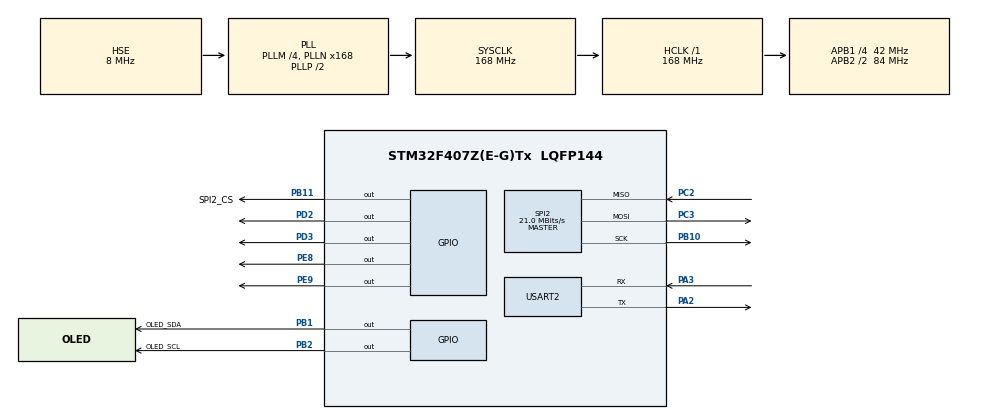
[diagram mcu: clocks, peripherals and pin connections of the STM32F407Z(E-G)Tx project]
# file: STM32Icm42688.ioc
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Mcu.Family=STM32F4
Mcu.Name=STM32F407Z(E-G)Tx
Mcu.Package=LQFP144
NVIC.PriorityGroup=NVIC_PRIORITYGROUP_4
NVIC.TIM3_IRQn=true\:0\:0\:false\:false\:true\:true\:true\:true
PA13.Mode=Serial_Wire
PA13.Signal=SYS_JTMS-SWDIO
PA14.Mode=Serial_Wire
PA14.Signal=SYS_JTCK-SWCLK
PA2.Mode=Asynchronous
PA2.Signal=USART2_TX
PA3.Mode=Asynchronous
PA3.Signal=USART2_RX
PB1.GPIO_Label=OLED_SDA
PB1.GPIO_ModeDefaultOutputPP=GPIO_MODE_OUTPUT_OD
PB1.GPIO_PuPd=GPIO_NOPULL
PB1.GPIO_Speed=GPIO_SPEED_FREQ_MEDIUM
PB1.Signal=GPIO_Output
PB10.Mode=Full_Duplex_Master
PB10.Signal=SPI2_SCK
PB11.GPIO_Label=SPI2_CS
PB11.GPIO_Speed=GPIO_SPEED_FREQ_VERY_HIGH
PB11.Signal=GPIO_Output
PB2.GPIO_Label=OLED_SCL
PB2.GPIO_ModeDefaultOutputPP=GPIO_MODE_OUTPUT_OD
PB2.GPIO_PuPd=GPIO_NOPULL
PB2.GPIO_Speed=GPIO_SPEED_FREQ_MEDIUM
PB2.Signal=GPIO_Output
PC2.Mode=Full_Duplex_Master
PC2.Signal=SPI2_MISO
PC3.Mode=Full_Duplex_Master
PC3.Signal=SPI2_MOSI
PD2.GPIO_ModeDefaultOutputPP=GPIO_MODE_OUTPUT_OD
PD2.GPIO_PuPd=GPIO_NOPULL
PD2.GPIO_Speed=GPIO_SPEED_FREQ_MEDIUM
PD2.Signal=GPIO_Output
PD3.GPIO_ModeDefaultOutputPP=GPIO_MODE_OUTPUT_OD
PD3.GPIO_PuPd=GPIO_NOPULL
PD3.GPIO_Speed=GPIO_SPEED_FREQ_MEDIUM
PD3.Signal=GPIO_Output
PE8.GPIO_ModeDefaultOutputPP=GPIO_MODE_OUTPUT_OD
PE8.GPIO_PuPd=GPIO_NOPULL
PE8.GPIO_Speed=GPIO_SPEED_FREQ_MEDIUM
PE8.Signal=GPIO_Output
PE9.GPIO_ModeDefaultOutputPP=GPIO_MODE_OUTPUT_OD
PE9.GPIO_PuPd=GPIO_NOPULL
PE9.GPIO_Speed=GPIO_SPEED_FREQ_MEDIUM
PE9.Signal=GPIO_Output
PH0-OSC_IN.Mode=HSE-External-Oscillator
PH0-OSC_IN.Signal=RCC_OSC_IN
PH1-OSC_OUT.Mode=HSE-External-Oscillator
PH1-OSC_OUT.Signal=RCC_OSC_OUT
ProjectManager.HeapSize=0xF00
ProjectManager.StackSize=0xF00
ProjectManager.TargetToolchain=MDK-ARM V5.32
RCC.48MHZClocksFreq_Value=84000000
RCC.AHBFreq_Value=168000000
RCC.APB1CLKDivider=RCC_HCLK_DIV4
RCC.APB1Freq_Value=42000000
RCC.APB1TimFreq_Value=84000000
RCC.APB2CLKDivider=RCC_HCLK_DIV2
RCC.APB2Freq_Value=84000000
RCC.APB2TimFreq_Value=168000000
RCC.CortexFreq_Value=168000000
RCC.HCLKFreq_Value=168000000
RCC.HSE_VALUE=8000000
RCC.HSI_VALUE=16000000
RCC.LSE_VALUE=32768
RCC.PLLM=4
RCC.PLLN=168
RCC.PLLSourceVirtual=RCC_PLLSOURCE_HSE
RCC.SYSCLKFreq_VALUE=168000000
RCC.SYSCLKSource=RCC_SYSCLKSOURCE_PLLCLK
RCC.VCOOutputFreq_Value=336000000
SPI2.CRCCalculation=SPI_CRCCALCULATION_DISABLE
SPI2.CalculateBaudRate=21.0 MBits/s
SPI2.Direction=SPI_DIRECTION_2LINES
SPI2.Mode=SPI_MODE_MASTER
SPI2.VirtualType=VM_MASTER
USART2.VirtualMode=VM_ASYNC
VP_TIM3_VS_ClockSourceINT.Mode=Internal
board=custom

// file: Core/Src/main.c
/* USER CODE BEGIN Header */
/**
  ******************************************************************************
  * @file           : main.c
  * @brief          : Main program body
  ******************************************************************************
  * @attention
  *
  * Copyright (c) 2024 STMicroelectronics.
  * All rights reserved.
  *
  * This software is licensed under terms that can be found in the LICENSE file
  * in the root directory of this software component.
  * If no LICENSE file comes with this software, it is provided AS-IS.
  *
  ******************************************************************************
  */
/* USER CODE END Header */
#include "main.h"
#include "spi.h"
#include "tim.h"
#include "usart.h"
#include "gpio.h"

/* USER CODE BEGIN Includes */
#include "icm42688.h"
#include <stdio.h>
#include "OLED.h"
#include "Delay.h"
#include "MahonyAHRS.h"
#include "interrupt.h"
/* USER CODE END Includes */

/* USER CODE BEGIN PTD */
char arr[20];
int16_t ax,ay,az,gx,gy,gz;
extern int Tis;
/* USER CODE END PTD */

void SystemClock_Config(void);

int main(void)
{

  /* MCU Configuration--------------------------------------------------------*/

  /* Reset of all peripherals, Initializes the Flash interface and the Systick. */
  HAL_Init();

  /* Configure the system clock */
  SystemClock_Config();

  /* Initialize all configured peripherals */
  MX_GPIO_Init();
  MX_SPI2_Init();
  MX_TIM3_Init();
  MX_USART2_UART_Init();
  /* USER CODE BEGIN 2 */

	delay_init();
	OLED_Init();
	Icm42688_Init();
	Mahony_Init(1000);//1000us的频率更新
	HAL_TIM_Base_Start_IT(&htim3);

  /* USER CODE END 2 */

  /* Infinite loop */
  while (1)
  {

    /* USER CODE BEGIN 3 */
	sprintf(arr,"roll:%3.2f",Roll);
	OLED_ShowString(1,1,arr);
	sprintf(arr,"Pitch:%3.2f",Pitch);
	OLED_ShowString(2,1,arr);
	sprintf(arr,"Yaw:%3.2f",Yaw);
	OLED_ShowString(3,1,arr);
	sprintf(arr,"Tis:%5d",Tis);
	OLED_ShowString(4,1,arr);

  }
  /* USER CODE END 3 */
}

void SystemClock_Config(void)
{
  RCC_OscInitTypeDef RCC_OscInitStruct = {0};
  RCC_ClkInitTypeDef RCC_ClkInitStruct = {0};

  /** Configure the main internal regulator output voltage
  */
  __HAL_RCC_PWR_CLK_ENABLE();
  __HAL_PWR_VOLTAGESCALING_CONFIG(PWR_REGULATOR_VOLTAGE_SCALE1);

  /** Initializes the RCC Oscillators according to the specified parameters
  * in the RCC_OscInitTypeDef structure.
  */
  RCC_OscInitStruct.OscillatorType = RCC_OSCILLATORTYPE_HSE;
  RCC_OscInitStruct.HSEState = RCC_HSE_ON;
  RCC_OscInitStruct.PLL.PLLState = RCC_PLL_ON;
  RCC_OscInitStruct.PLL.PLLSource = RCC_PLLSOURCE_HSE;
  RCC_OscInitStruct.PLL.PLLM = 4;
  RCC_OscInitStruct.PLL.PLLN = 168;
  RCC_OscInitStruct.PLL.PLLP = RCC_PLLP_DIV2;
  RCC_OscInitStruct.PLL.PLLQ = 4;
  if (HAL_RCC_OscConfig(&RCC_OscInitStruct) != HAL_OK)
  {
    Error_Handler();
  }

  /** Initializes the CPU, AHB and APB buses clocks
  */
  RCC_ClkInitStruct.ClockType = RCC_CLOCKTYPE_HCLK|RCC_CLOCKTYPE_SYSCLK
                              |RCC_CLOCKTYPE_PCLK1|RCC_CLOCKTYPE_PCLK2;
  RCC_ClkInitStruct.SYSCLKSource = RCC_SYSCLKSOURCE_PLLCLK;
  RCC_ClkInitStruct.AHBCLKDivider = RCC_SYSCLK_DIV1;
  RCC_ClkInitStruct.APB1CLKDivider = RCC_HCLK_DIV4;
  RCC_ClkInitStruct.APB2CLKDivider = RCC_HCLK_DIV2;

  if (HAL_RCC_ClockConfig(&RCC_ClkInitStruct, FLASH_LATENCY_5) != HAL_OK)
  {
    Error_Handler();
  }
}

void Error_Handler(void)
{
  __disable_irq();
  while (1)
  {
  }
}
